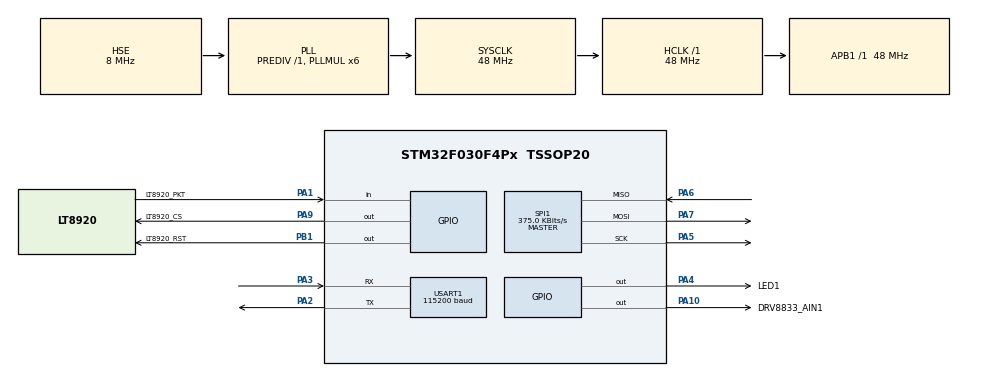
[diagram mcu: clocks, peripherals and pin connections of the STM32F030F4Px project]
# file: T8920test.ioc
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Mcu.Family=STM32F0
Mcu.Name=STM32F030F4Px
Mcu.Package=TSSOP20
NVIC.SPI1_IRQn=true\:0\:0\:false\:false\:true\:true
NVIC.USART1_IRQn=true\:0\:0\:false\:false\:true\:true
PA1.GPIO_Label=LT8920_PKT
PA1.GPIO_PuPd=GPIO_NOPULL
PA1.Signal=GPIO_Input
PA10.GPIO_Label=DRV8833_AIN1
PA10.Signal=GPIO_Output
PA13.Mode=Serial_Wire
PA13.Signal=SYS_SWDIO
PA14.Mode=Serial_Wire
PA14.Signal=SYS_SWCLK
PA2.Mode=Asynchronous
PA2.Signal=USART1_TX
PA3.Mode=Asynchronous
PA3.Signal=USART1_RX
PA4.GPIO_Label=LED1
PA4.Signal=GPIO_Output
PA5.Mode=Full_Duplex_Master
PA5.Signal=SPI1_SCK
PA6.Mode=Full_Duplex_Master
PA6.Signal=SPI1_MISO
PA7.Mode=Full_Duplex_Master
PA7.Signal=SPI1_MOSI
PA9.GPIO_Label=LT8920_CS
PA9.Signal=GPIO_Output
PB1.GPIO_Label=LT8920_RST
PB1.Signal=GPIO_Output
PF0-OSC_IN.Mode=HSE-External-Oscillator
PF0-OSC_IN.Signal=RCC_OSC_IN
PF1-OSC_OUT.Mode=HSE-External-Oscillator
PF1-OSC_OUT.Signal=RCC_OSC_OUT
ProjectManager.HeapSize=0x200
ProjectManager.StackSize=0x400
ProjectManager.TargetToolchain=MDK-ARM V5
RCC.AHBFreq_Value=48000000
RCC.APB1Freq_Value=48000000
RCC.APB1TimFreq_Value=48000000
RCC.HCLKFreq_Value=48000000
RCC.OscillatorTypeHSI=RCC_OSCILLATORTYPE_HSI
RCC.PLLMUL=RCC_PLL_MUL6
RCC.PLLSourceVirtual=RCC_PLLSOURCE_HSE
RCC.SYSCLKFreq_VALUE=48000000
RCC.SYSCLKSource=RCC_SYSCLKSOURCE_PLLCLK
SPI1.BaudRatePrescaler=SPI_BAUDRATEPRESCALER_128
SPI1.CLKPhase=SPI_PHASE_2EDGE
SPI1.CalculateBaudRate=375.0 KBits/s
SPI1.DataSize=SPI_DATASIZE_8BIT
SPI1.Direction=SPI_DIRECTION_2LINES
SPI1.FirstBit=SPI_FIRSTBIT_MSB
SPI1.Mode=SPI_MODE_MASTER
SPI1.VirtualType=VM_MASTER
USART1.BaudRate=115200
USART1.HwFlowCtl-Asynchronous=UART_HWCONTROL_NONE
USART1.RxPinLevelInvertParam=UART_ADVFEATURE_RXINV_DISABLE
USART1.TxPinLevelInvertParam=UART_ADVFEATURE_TXINV_DISABLE
USART1.VirtualMode-Asynchronous=VM_ASYNC
VP_TIM17_VS_ClockSourceINT.Mode=Enable_Timer
board=T8920test

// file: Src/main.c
/**
  ******************************************************************************
  * File Name          : main.c
  * Description        : Main program body
  ******************************************************************************
  *
  * COPYRIGHT(c) 2017 STMicroelectronics
  *
  * Redistribution and use in source and binary forms, with or without modification,
  * are permitted provided that the following conditions are met:
  *   1. Redistributions of source code must retain the above copyright notice,
  *      this list of conditions and the following disclaimer.
  *   2. Redistributions in binary form must reproduce the above copyright notice,
  *      this list of conditions and the following disclaimer in the documentation
  *      and/or other materials provided with the distribution.
  *   3. Neither the name of STMicroelectronics nor the names of its contributors
  *      may be used to endorse or promote products derived from this software
  *      without specific prior written permission.
  *
  * THIS SOFTWARE IS PROVIDED BY THE COPYRIGHT HOLDERS AND CONTRIBUTORS "AS IS"
  * AND ANY EXPRESS OR IMPLIED WARRANTIES, INCLUDING, BUT NOT LIMITED TO, THE
  * IMPLIED WARRANTIES OF MERCHANTABILITY AND FITNESS FOR A PARTICULAR PURPOSE ARE
  * DISCLAIMED. IN NO EVENT SHALL THE COPYRIGHT HOLDER OR CONTRIBUTORS BE LIABLE
  * FOR ANY DIRECT, INDIRECT, INCIDENTAL, SPECIAL, EXEMPLARY, OR CONSEQUENTIAL
  * DAMAGES (INCLUDING, BUT NOT LIMITED TO, PROCUREMENT OF SUBSTITUTE GOODS OR
  * SERVICES; LOSS OF USE, DATA, OR PROFITS; OR BUSINESS INTERRUPTION) HOWEVER
  * CAUSED AND ON ANY THEORY OF LIABILITY, WHETHER IN CONTRACT, STRICT LIABILITY,
  * OR TORT (INCLUDING NEGLIGENCE OR OTHERWISE) ARISING IN ANY WAY OUT OF THE USE
  * OF THIS SOFTWARE, EVEN IF ADVISED OF THE POSSIBILITY OF SUCH DAMAGE.
  *
  ******************************************************************************
  */
#include "main.h"
#include "stm32f0xx_hal.h"
#include "spi.h"
#include "tim.h"
#include "usart.h"
#include "gpio.h"

/* USER CODE BEGIN Includes */
#include "stdio.h"
#include "LT8920_slave.h"

#ifdef __GNUC__
#define PUTCHAR_PROTOTYPE int __io_putchar(int ch)
#else
#define PUTCHAR_PROTOTYPE int fputc(int ch, FILE *f)
#endif
PUTCHAR_PROTOTYPE
{
    HAL_UART_Transmit(&huart1 , (uint8_t *)&ch, 1, 500);
    return ch;
}
/* USER CODE END Includes */

/* USER CODE BEGIN PV */
/* Private variables ---------------------------------------------------------*/

/* USER CODE END PV */

void SystemClock_Config(void);
void Error_Handler(void);
bool CheckTimeout(uint32_t start_time, uint32_t timeout);

/* USER CODE BEGIN PFP */
/* Private function prototypes -----------------------------------------------*/

/* USER CODE END PFP */

int main(void)
{

  /* MCU Configuration----------------------------------------------------------*/

  /* Reset of all peripherals, Initializes the Flash interface and the Systick. */
  HAL_Init();

  /* Configure the system clock */
  SystemClock_Config();

  /* Initialize all configured peripherals */
  MX_GPIO_Init();
  MX_SPI1_Init();
  MX_TIM17_Init();
  MX_USART1_UART_Init();

    /* USER CODE BEGIN 2 */
    LT8920_SlaveInit(4);

    uint32_t start = HAL_GetTick();
    printf("Receiver power on!\n");

        if(LT8920_WaitPairing(500))
        {
            printf("pair ok!\n");
        }
    while(1) ;

        /*if(!CheckTimeout(start, 1100))
        {
            //开机的前1秒钟时间用于等待配对和连接

        }
        else
        {
            //开机的后两秒用于等待连接，再往后要考虑进入省电模式了
            if(LT8920_WaitConnect(500))
            {
                printf("connect ok!\n");
                break;
            }

        }*/

    /* USER CODE END 2 */

    /* Infinite loop */
    /* USER CODE BEGIN WHILE */
    uint8_t RxBuf[32],LostCount;
    uint8_t TxBuf[32];
    while (1)
    {
        //从机等待接收
        if(LT8920_WaitCommand(RxBuf, TxBuf, 100, &LostCount))
        {
            printf("receive ok!\n");
            printf("%d %d %d %d", RxBuf[0], RxBuf[1], RxBuf[2], RxBuf[3]);
            HAL_GPIO_WritePin(GPIOA, GPIO_PIN_4, GPIO_PIN_RESET);
            HAL_Delay(100);
        }
        else
        {
            HAL_GPIO_WritePin(GPIOA, GPIO_PIN_4, GPIO_PIN_SET);
        }

    }
    /* USER CODE END WHILE */

}

/** System Clock Configuration
*/
void SystemClock_Config(void)
{

  RCC_OscInitTypeDef RCC_OscInitStruct;
  RCC_ClkInitTypeDef RCC_ClkInitStruct;
  RCC_PeriphCLKInitTypeDef PeriphClkInit;

    /**Initializes the CPU, AHB and APB busses clocks
    */
  RCC_OscInitStruct.OscillatorType = RCC_OSCILLATORTYPE_HSI|RCC_OSCILLATORTYPE_HSE;
  RCC_OscInitStruct.HSEState = RCC_HSE_ON;
    RCC_OscInitStruct.HSIState = RCC_HSI_ON;
  RCC_OscInitStruct.PLL.PLLState = RCC_PLL_ON;
  RCC_OscInitStruct.PLL.PLLSource = RCC_PLLSOURCE_HSE;
  RCC_OscInitStruct.PLL.PLLMUL = RCC_PLL_MUL6;
  RCC_OscInitStruct.PLL.PREDIV = RCC_PREDIV_DIV1;
  if (HAL_RCC_OscConfig(&RCC_OscInitStruct) != HAL_OK)
  {
    Error_Handler();
  }

    /**Initializes the CPU, AHB and APB busses clocks
    */
  RCC_ClkInitStruct.ClockType = RCC_CLOCKTYPE_HCLK|RCC_CLOCKTYPE_SYSCLK
                              |RCC_CLOCKTYPE_PCLK1;
  RCC_ClkInitStruct.SYSCLKSource = RCC_SYSCLKSOURCE_PLLCLK;
  RCC_ClkInitStruct.AHBCLKDivider = RCC_SYSCLK_DIV1;
  RCC_ClkInitStruct.APB1CLKDivider = RCC_HCLK_DIV1;

  if (HAL_RCC_ClockConfig(&RCC_ClkInitStruct, FLASH_LATENCY_1) != HAL_OK)
  {
    Error_Handler();
  }

  PeriphClkInit.PeriphClockSelection = RCC_PERIPHCLK_USART1;
  PeriphClkInit.Usart1ClockSelection = RCC_USART1CLKSOURCE_PCLK1;
  if (HAL_RCCEx_PeriphCLKConfig(&PeriphClkInit) != HAL_OK)
  {
    Error_Handler();
  }

    /**Configure the Systick interrupt time
    */
  HAL_SYSTICK_Config(HAL_RCC_GetHCLKFreq()/1000);

    /**Configure the Systick
    */
  HAL_SYSTICK_CLKSourceConfig(SYSTICK_CLKSOURCE_HCLK);

  /* SysTick_IRQn interrupt configuration */
  HAL_NVIC_SetPriority(SysTick_IRQn, 0, 0);
}

/* USER CODE BEGIN 4 */
//计算是否超时
bool CheckTimeout(uint32_t start_time, uint32_t timeout)
{
    uint32_t tick = HAL_GetTick();
    uint32_t ellipsed;
    if(tick >= start_time)
        ellipsed =  tick - start_time;
    else
        ellipsed =  (0xFFFFFFFF - start_time) + tick;

    if(ellipsed >= timeout)
        return true;
    else
        return false;
}
/* USER CODE END 4 */

void Error_Handler(void)
{
  while(1)
  {
  }
}

/************************ (C) COPYRIGHT STMicroelectronics *****END OF FILE****/
